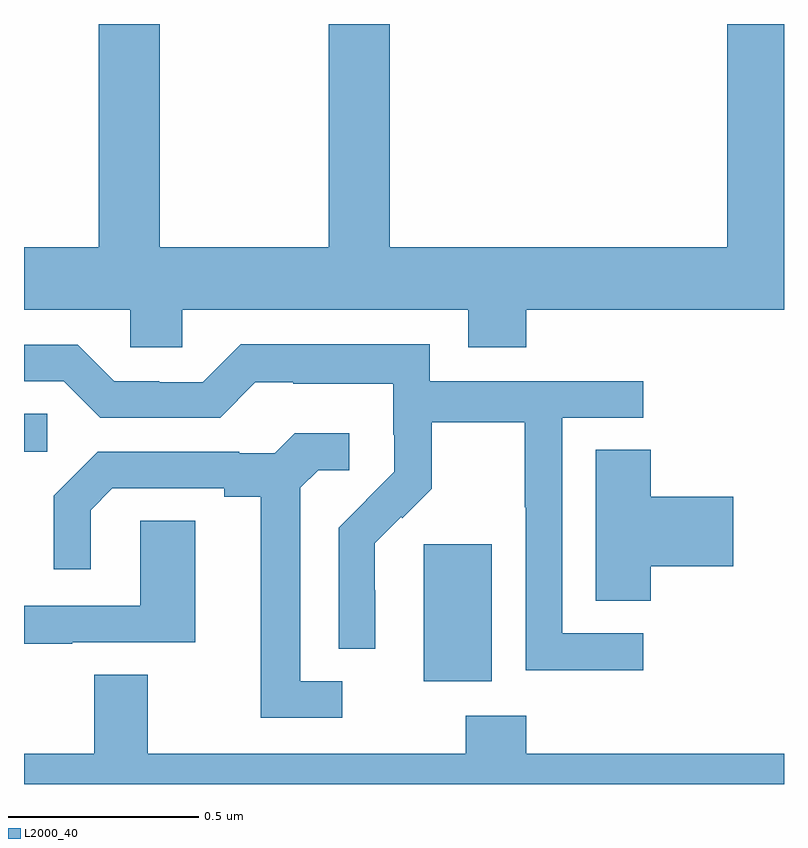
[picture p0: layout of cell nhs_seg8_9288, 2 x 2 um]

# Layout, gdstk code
import gdstk
lib = gdstk.Library(unit=1e-6, precision=1e-09)
def R(c, l, rs):  # rectangles x0, y0, x1, y1
    for r in rs: c.add(gdstk.rectangle(r[:2], r[2:], *l))
def P(c, l, *ps):  # polygons
    for p in ps: c.add(gdstk.Polygon(p, *l))
L2000_40 = (2000, 40)

nhs_seg8_9288 = lib.new_cell('nhs_seg8_9288')
R(nhs_seg8_9288, L2000_40, [(235.052,1134.17,235.231,1134.531), (234,1134.774,234.061,1134.875)])
P(nhs_seg8_9288, L2000_40, [(235.322,1135.148),(236,1135.148),(236,1135.9),(235.85,1135.9),(235.85,1135.312),(234.962,1135.312),(234.962,1135.9),(234.802,1135.9),(234.802,1135.312),(234.357,1135.312),(234.357,1135.9),(234.197,1135.9),(234.197,1135.312),(234,1135.312),(234,1135.148),(234.279,1135.148),(234.279,1135.05),(234.417,1135.05),(234.417,1135.148),(235.169,1135.148),(235.169,1135.049),(235.322,1135.049)],
  [(235.63,1134.297),(235.416,1134.297),(235.416,1134.864),(235.63,1134.864),(235.63,1134.96),(235.068,1134.96),(235.068,1135.057),(234.571,1135.057),(234.471,1134.957),(234.356,1134.957),(234.356,1134.96),(234.237,1134.96),(234.141,1135.056),(234,1135.056),(234,1134.96),(234.105,1134.96),(234.201,1134.864),(234.516,1134.864),(234.609,1134.957),(234.709,1134.957),(234.709,1134.953),(234.972,1134.953),(234.972,1134.819),(234.974,1134.819),(234.974,1134.722),(234.9,1134.648),(234.901,1134.647),(234.828,1134.574),(234.828,1134.256),(234.924,1134.256),(234.924,1134.41),(234.923,1134.41),(234.923,1134.533),(234.993,1134.603),(234.996,1134.6),(235.073,1134.677),(235.073,1134.852),(235.318,1134.852),(235.318,1134.628),(235.32,1134.628),(235.32,1134.199),(235.63,1134.199)],
  [(234.838,1134.171),(234.727,1134.171),(234.727,1134.679),(234.774,1134.726),(234.856,1134.726),(234.856,1134.823),(234.712,1134.823),(234.66,1134.771),(234.566,1134.771),(234.566,1134.774),(234.194,1134.774),(234.078,1134.658),(234.078,1134.465),(234.175,1134.465),(234.175,1134.621),(234.232,1134.678),(234.527,1134.678),(234.527,1134.656),(234.623,1134.656),(234.623,1134.075),(234.838,1134.075)],
  [(235.649,1134.473),(235.867,1134.473),(235.867,1134.656),(235.649,1134.656),(235.649,1134.779),(235.505,1134.779),(235.505,1134.382),(235.649,1134.382)],
  [(234.127,1134.273),(234.451,1134.273),(234.451,1134.593),(234.306,1134.593),(234.306,1134.369),(234,1134.369),(234,1134.269),(234.127,1134.269)],
  [(236,1133.98),(235.322,1133.98),(235.322,1134.079),(235.162,1134.079),(235.162,1133.98),(234.325,1133.98),(234.325,1134.188),(234.185,1134.188),(234.185,1133.98),(234,1133.98),(234,1133.9),(236,1133.9)])

lib.write_gds('nhs_seg8_9288.gds')
